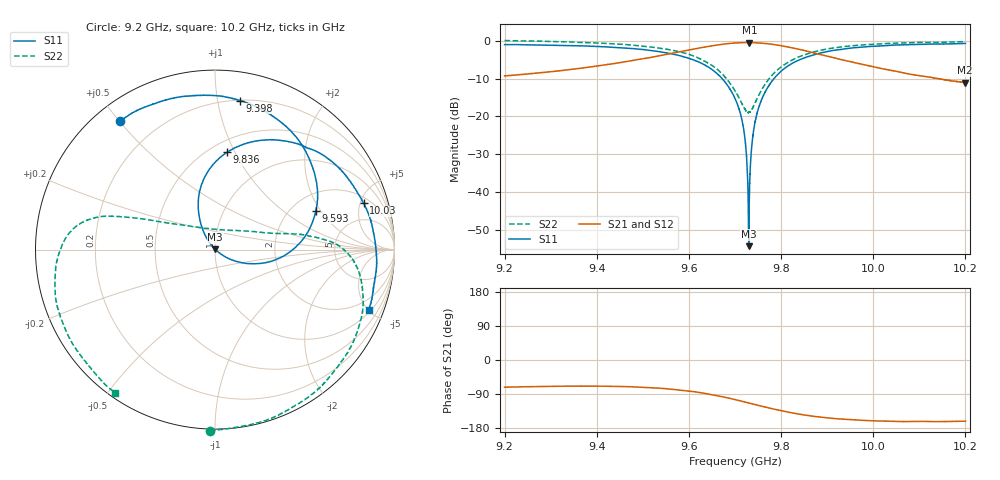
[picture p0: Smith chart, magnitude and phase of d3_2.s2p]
!Agilent Technologies,N5242A,MY51221714,A.09.90.19
!Agilent N5242A: A.09.90.19
!Date: Friday, February 02, 2024 13:13:10
!Correction: S11(Full 2 Port(1,2))
!S21(Full 2 Port(1,2))
!S12(Full 2 Port(1,2))
!S22(Full 2 Port(1,2))
!S2P File: Measurements: S11, S21, S12, S22:
# Hz S  dB  R 50
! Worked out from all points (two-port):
!   16001 points, 9.2 GHz to 10.2 GHz, reference 50 ohm
!   highest |S21| = -0.47 dB at 9.731 GHz (marker M1); lowest = -11.1 dB at 10.2 GHz (marker M2)
!   |S21| within 3 dB of the highest: 9.555871 GHz to 9.555878 GHz (6.407 kHz wide, 6.7e-05 % of centre); 9.556 GHz to 9.879 GHz (323.3 MHz wide, 3.33 % of centre)
!   lowest |S11| = -54.3 dB at 9.73 GHz (marker M3), VSWR 1.00, Z = 50.1 + j0.144 ohm
!   |S11| at or under -10 dB: 9.672062 GHz to 9.672065 GHz (3.704 kHz wide, 3.83e-05 % of centre); 9.672 GHz to 9.784 GHz (112.3 MHz wide, 1.15 % of centre)
!   |S22| runs from -19.0 to 0.1 dB; largest |S21 - S12| = 0.025
!   S11 on the Smith chart (normalised r, x): 9.2 GHz: 0.07, +0.50; 9.398 GHz: 0.20, +1.16; 9.593 GHz: 2.66, +1.82; 9.836 GHz: 0.60, +0.93; 10.03 GHz: 2.56, +5.38; 10.2 GHz: 1.13, -5.01
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9.2e9  -1.02 126.5  -9.28 -71.7  -9.26 -73.0  0.07 -91.6
9.366688e9  -1.35 88.2  -7.21 -68.9  -7.20 -70.1  -0.45 -46.2
9.397875e9  -1.50 80.4  -6.71 -69.0  -6.68 -70.2  -0.57 -38.1
9.533375e9  -2.84 42.3  -4.02 -74.2  -3.99 -75.4  -1.89 -7.9
9.59325e9  -4.40 21.2  -2.62 -81.0  -2.59 -82.2  -3.35 2.3
9.658312e9  -8.38 -5.7  -1.18 -93.4  -1.16 -94.5  -7.22 11.7
9.7e9  -15.22 -25.2  -0.60 -104.5  -0.57 -105.8  -13.19 27.7
9.718e9  -22.80 -34.3  -0.50 -109.8  -0.47 -111.1  -17.30 52.8
9.72275e9  -27.22 -36.9  -0.49 -111.2  -0.46 -112.5  -18.35 64.2
9.726625e9  -34.01 -36.5  -0.48 -112.3  -0.45 -113.7  -18.89 76.2
9.72975e9  -54.25 47.7  -0.48 -113.3  -0.45 -114.7  -18.92 87.3
9.731375e9  -40.11 123.6  -0.47 -113.9  -0.45 -115.2  -18.84 92.9
9.740625e9  -23.58 126.7  -0.52 -116.7  -0.48 -118.0  -17.14 119.1
9.756875e9  -15.80 119.0  -0.63 -121.5  -0.60 -123.0  -13.17 142.0
9.789438e9  -9.30 104.2  -1.08 -131.0  -1.08 -132.4  -8.02 155.6
9.835938e9  -5.26 82.9  -2.17 -142.1  -2.17 -143.4  -4.39 162.0
9.866688e9  -3.85 70.1  -3.08 -148.0  -3.06 -149.4  -3.11 165.5
9.941188e9  -2.07 43.9  -5.27 -156.6  -5.26 -157.9  -1.48 177.0
1.003288e10  -1.23 17.3  -7.68 -161.5  -7.67 -162.8  -0.70 -164.8
1.003338e10  -1.22 17.1  -7.70 -161.5  -7.68 -162.8  -0.69 -164.6
1.019981e10  -0.72 -21.5  -11.08 -161.5  -11.05 -162.9  -0.24 -124.9
1.02e10  -0.72 -21.5  -11.07 -161.5  -11.06 -163.0  -0.24 -124.9
